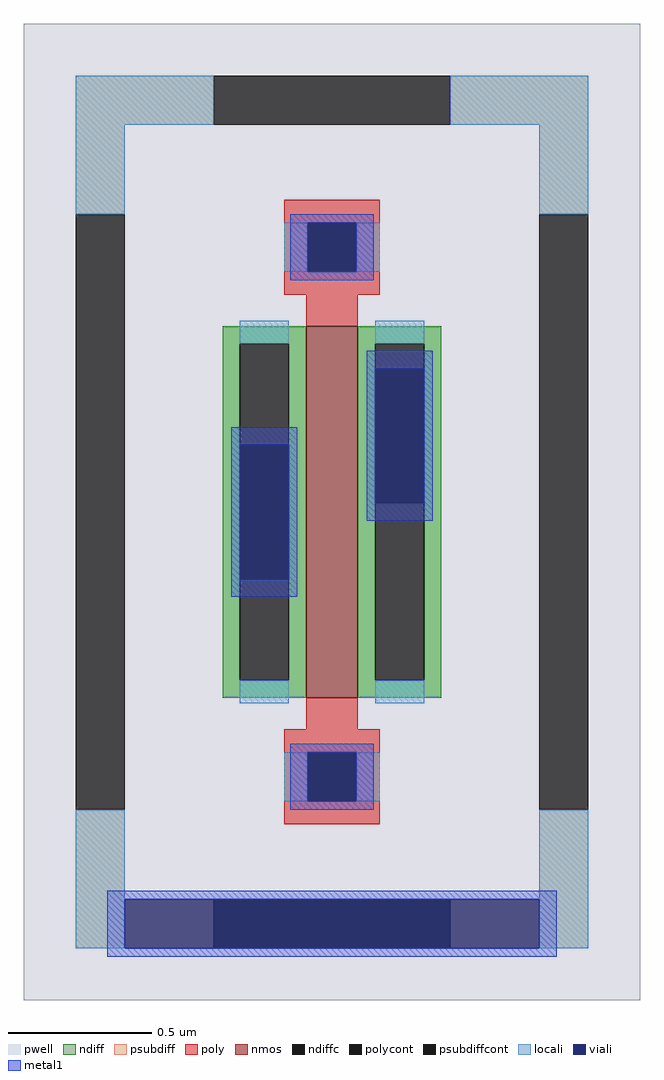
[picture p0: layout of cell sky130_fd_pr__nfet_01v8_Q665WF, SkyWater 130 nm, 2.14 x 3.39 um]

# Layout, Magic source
magic
tech sky130A
magscale 1 2
<< pwell >>
rect -214 -339 214 339
<< nmos >>
rect -18 -129 18 129
<< ndiff >>
rect -76 117 -18 129
rect -76 -117 -64 117
rect -30 -117 -18 117
rect -76 -129 -18 -117
rect 18 117 76 129
rect 18 -117 30 117
rect 64 -117 76 117
rect 18 -129 76 -117
<< ndiffc >>
rect -64 -117 -30 117
rect 30 -117 64 117
<< psubdiff >>
rect -178 269 -82 303
rect 82 269 178 303
rect -178 207 -144 269
rect 144 207 178 269
rect -178 -269 -144 -207
rect 144 -269 178 -207
rect -178 -303 -82 -269
rect 82 -303 178 -269
<< psubdiffcont >>
rect -82 269 82 303
rect -178 -207 -144 207
rect 144 -207 178 207
rect -82 -303 82 -269
<< poly >>
rect -33 201 33 217
rect -33 167 -17 201
rect 17 167 33 201
rect -33 151 33 167
rect -18 129 18 151
rect -18 -151 18 -129
rect -33 -167 33 -151
rect -33 -201 -17 -167
rect 17 -201 33 -167
rect -33 -217 33 -201
<< polycont >>
rect -17 167 17 201
rect -17 -201 17 -167
<< locali >>
rect -178 269 -82 303
rect 82 269 178 303
rect -178 207 -144 269
rect 144 207 178 269
rect -33 167 -17 201
rect 17 167 33 201
rect -64 117 -30 133
rect -64 -133 -30 -117
rect 30 117 64 133
rect 30 -133 64 -117
rect -33 -201 -17 -167
rect 17 -201 33 -167
rect -178 -303 -144 -207
rect 144 -303 178 -207
<< viali >>
rect -17 167 17 201
rect -64 -47 -30 47
rect 30 6 64 100
rect -17 -201 17 -167
rect -144 -303 -82 -269
rect -82 -303 82 -269
rect 82 -303 144 -269
<< metal1 >>
rect -29 201 29 207
rect -29 167 -17 201
rect 17 167 29 201
rect -29 161 29 167
rect 24 100 70 112
rect -70 47 -24 59
rect -70 -47 -64 47
rect -30 -47 -24 47
rect 24 6 30 100
rect 64 6 70 100
rect 24 -6 70 6
rect -70 -59 -24 -47
rect -29 -167 29 -161
rect -29 -201 -17 -167
rect 17 -201 29 -167
rect -29 -207 29 -201
rect -156 -269 156 -263
rect -156 -303 -144 -269
rect 144 -303 156 -269
rect -156 -309 156 -303
<< properties >>
string gencell sky130_fd_pr__nfet_01v8
string FIXED_BBOX -161 -286 161 286
string parameters w 1.29 l 0.18 m 1 nf 1 diffcov 100 polycov 100 guard 1 glc 1 grc 1 gtc 1 gbc 1 tbcov 100 rlcov 100 topc 1 botc 1 poverlap 0 doverlap 1 lmin 0.15 wmin 0.42 compatible {sky130_fd_pr__nfet_01v8 sky130_fd_pr__nfet_01v8_lvt  sky130_fd_bs_flash__special_sonosfet_star  sky130_fd_pr__nfet_g5v0d10v5 sky130_fd_pr__nfet_05v0_nvt  sky130_fd_pr__nfet_03v3_nvt} full_metal 1 viasrc -40 viadrn 40 viagate 100 viagb 100 viagr 0 viagl 0 viagt 0
string library sky130
<< end >>
